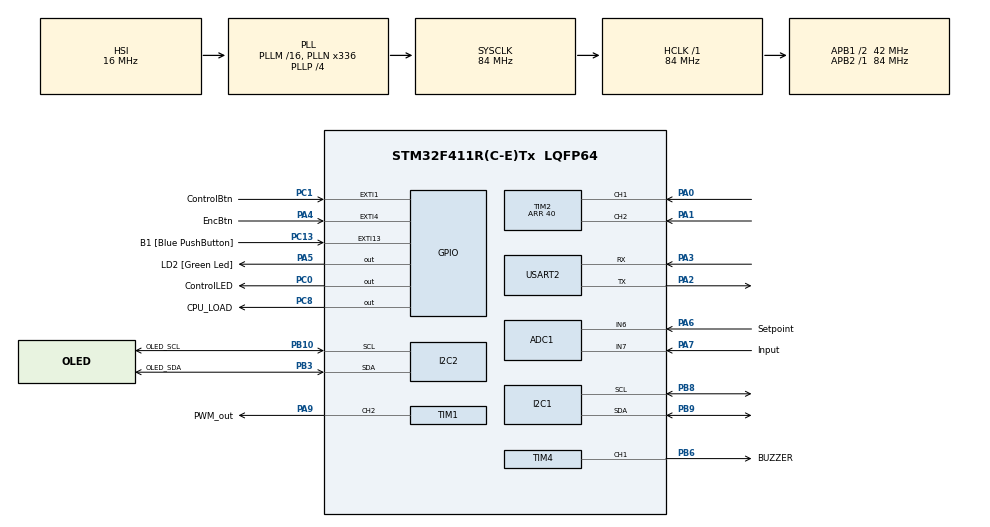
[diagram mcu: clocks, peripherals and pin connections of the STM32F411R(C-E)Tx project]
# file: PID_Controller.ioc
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ADC1.Channel-3\#ChannelRegularConversion=ADC_CHANNEL_6
ADC1.Channel-4\#ChannelRegularConversion=ADC_CHANNEL_7
ADC1.ContinuousConvMode=DISABLE
ADC1.DMAContinuousRequests=ENABLE
ADC1.DataAlign=ADC_DATAALIGN_RIGHT
ADC1.EOCSelection=ADC_EOC_SINGLE_CONV
ADC1.InjNumberOfConversion=0
ADC1.NbrOfConversion=2
ADC1.NbrOfConversionFlag=1
ADC1.Rank-3\#ChannelRegularConversion=1
ADC1.Rank-4\#ChannelRegularConversion=2
ADC1.SamplingTime-3\#ChannelRegularConversion=ADC_SAMPLETIME_480CYCLES
ADC1.SamplingTime-4\#ChannelRegularConversion=ADC_SAMPLETIME_480CYCLES
ADC1.ScanConvMode=ENABLE
ADC1.master=1
Dma.ADC1.2.Direction=DMA_PERIPH_TO_MEMORY
Dma.ADC1.2.FIFOMode=DMA_FIFOMODE_DISABLE
Dma.ADC1.2.Instance=DMA2_Stream0
Dma.ADC1.2.MemDataAlignment=DMA_MDATAALIGN_HALFWORD
Dma.ADC1.2.MemInc=DMA_MINC_ENABLE
Dma.ADC1.2.Mode=DMA_CIRCULAR
Dma.ADC1.2.PeriphDataAlignment=DMA_PDATAALIGN_HALFWORD
Dma.ADC1.2.PeriphInc=DMA_PINC_DISABLE
Dma.ADC1.2.Priority=DMA_PRIORITY_HIGH
Dma.I2C1_TX.0.Direction=DMA_MEMORY_TO_PERIPH
Dma.I2C1_TX.0.FIFOMode=DMA_FIFOMODE_ENABLE
Dma.I2C1_TX.0.FIFOThreshold=DMA_FIFO_THRESHOLD_HALFFULL
Dma.I2C1_TX.0.Instance=DMA1_Stream1
Dma.I2C1_TX.0.MemBurst=DMA_MBURST_SINGLE
Dma.I2C1_TX.0.MemDataAlignment=DMA_MDATAALIGN_WORD
Dma.I2C1_TX.0.MemInc=DMA_MINC_ENABLE
Dma.I2C1_TX.0.Mode=DMA_NORMAL
Dma.I2C1_TX.0.PeriphBurst=DMA_PBURST_SINGLE
Dma.I2C1_TX.0.PeriphDataAlignment=DMA_PDATAALIGN_BYTE
Dma.I2C1_TX.0.PeriphInc=DMA_PINC_DISABLE
Dma.I2C1_TX.0.Priority=DMA_PRIORITY_MEDIUM
Dma.I2C2_TX.1.Direction=DMA_MEMORY_TO_PERIPH
Dma.I2C2_TX.1.FIFOMode=DMA_FIFOMODE_ENABLE
Dma.I2C2_TX.1.FIFOThreshold=DMA_FIFO_THRESHOLD_HALFFULL
Dma.I2C2_TX.1.Instance=DMA1_Stream7
Dma.I2C2_TX.1.MemBurst=DMA_MBURST_SINGLE
Dma.I2C2_TX.1.MemDataAlignment=DMA_MDATAALIGN_WORD
Dma.I2C2_TX.1.MemInc=DMA_MINC_ENABLE
Dma.I2C2_TX.1.Mode=DMA_NORMAL
Dma.I2C2_TX.1.PeriphBurst=DMA_PBURST_SINGLE
Dma.I2C2_TX.1.PeriphDataAlignment=DMA_PDATAALIGN_BYTE
Dma.I2C2_TX.1.PeriphInc=DMA_PINC_DISABLE
Dma.I2C2_TX.1.Priority=DMA_PRIORITY_HIGH
Dma.Request0=I2C1_TX
Dma.Request1=I2C2_TX
Dma.Request2=ADC1
Dma.Request3=USART2_TX
Dma.USART2_TX.3.Direction=DMA_MEMORY_TO_PERIPH
Dma.USART2_TX.3.FIFOMode=DMA_FIFOMODE_DISABLE
Dma.USART2_TX.3.Instance=DMA1_Stream6
Dma.USART2_TX.3.MemDataAlignment=DMA_MDATAALIGN_BYTE
Dma.USART2_TX.3.MemInc=DMA_MINC_ENABLE
Dma.USART2_TX.3.Mode=DMA_NORMAL
Dma.USART2_TX.3.PeriphDataAlignment=DMA_PDATAALIGN_BYTE
Dma.USART2_TX.3.PeriphInc=DMA_PINC_DISABLE
Dma.USART2_TX.3.Priority=DMA_PRIORITY_LOW
FREERTOS.Tasks01=Default,8,128,StartDefaultTask,As weak,NULL,Static,DefaultBuffer,DefaultControlBlock;Service_LCD,24,128,Service_LCD_Task,As weak,NULL,Static,Service_LCDBuffer,Service_LCDControlBlock;Service_Control,16,128,Service_Control_Task,As weak,NULL,Static,Service_ControlBuffer,Service_ControlControlBlock;Service_OLED,24,128,Service_OLED_Task,As weak,NULL,Static,Service_OLEDBuffer,Service_OLEDControlBlock
FREERTOS.configENABLE_FPU=1
FREERTOS.configUSE_NEWLIB_REENTRANT=1
I2C2.I2C_Mode=I2C_Fast
Mcu.Family=STM32F4
Mcu.Name=STM32F411R(C-E)Tx
Mcu.Package=LQFP64
Mcu.UserConstants=DUTY_50,21000
NVIC.ADC_IRQn=true\:5\:0\:false\:false\:true\:true\:true\:true\:true
NVIC.DMA1_Stream1_IRQn=true\:5\:0\:false\:false\:true\:true\:true\:true\:true
NVIC.DMA1_Stream6_IRQn=true\:5\:0\:false\:false\:true\:true\:true\:true\:true
NVIC.DMA1_Stream7_IRQn=true\:5\:0\:true\:false\:true\:true\:true\:true\:true
NVIC.DMA2_Stream0_IRQn=true\:5\:0\:false\:false\:true\:true\:true\:true\:true
NVIC.EXTI1_IRQn=true\:6\:0\:true\:false\:true\:true\:true\:true\:true
NVIC.EXTI4_IRQn=true\:6\:0\:true\:false\:true\:true\:true\:true\:true
NVIC.I2C1_EV_IRQn=true\:5\:0\:false\:false\:true\:true\:true\:true\:true
NVIC.I2C2_EV_IRQn=true\:5\:0\:false\:false\:true\:true\:true\:true\:true
NVIC.PriorityGroup=NVIC_PRIORITYGROUP_4
NVIC.TIM1_BRK_TIM9_IRQn=true\:5\:0\:false\:false\:true\:true\:true\:true\:true
NVIC.TIM1_TRG_COM_TIM11_IRQn=true\:15\:0\:true\:false\:true\:false\:false\:true\:true
NVIC.TIM1_UP_TIM10_IRQn=true\:10\:0\:true\:false\:true\:true\:true\:true\:true
NVIC.TIM4_IRQn=true\:5\:0\:false\:false\:true\:true\:true\:true\:true
NVIC.TIM5_IRQn=true\:5\:0\:true\:false\:true\:true\:true\:true\:true
NVIC.TimeBase=TIM1_TRG_COM_TIM11_IRQn
NVIC.TimeBaseIP=TIM11
NVIC.USART2_IRQn=true\:5\:0\:false\:false\:true\:true\:true\:true\:true
PA0-WKUP.Signal=S_TIM2_CH1_ETR
PA1.Signal=S_TIM2_CH2
PA13.GPIO_Label=TMS
PA13.Mode=Serial_Wire
PA13.Signal=SYS_JTMS-SWDIO
PA14.GPIO_Label=TCK
PA14.Mode=Serial_Wire
PA14.Signal=SYS_JTCK-SWCLK
PA2.Mode=Asynchronous
PA2.Signal=USART2_TX
PA3.Mode=Asynchronous
PA3.Signal=USART2_RX
PA4.GPIO_Label=EncBtn
PA4.GPIO_ModeDefaultEXTI=GPIO_MODE_IT_FALLING
PA4.Signal=GPXTI4
PA5.GPIO_Label=LD2 [Green Led]
PA5.GPIO_Speed=GPIO_SPEED_FREQ_VERY_HIGH
PA5.Signal=GPIO_Output
PA6.GPIO_Label=Setpoint
PA6.Signal=ADCx_IN6
PA7.GPIO_Label=Input
PA7.Signal=ADCx_IN7
PA9.GPIO_Label=PWM_out
PA9.Signal=S_TIM1_CH2
PB10.GPIO_Label=OLED_SCL
PB10.Mode=I2C
PB10.Signal=I2C2_SCL
PB3.GPIO_Label=OLED_SDA
PB3.Mode=I2C
PB3.Signal=I2C2_SDA
PB6.GPIO_Label=BUZZER
PB6.Signal=S_TIM4_CH1
PB8.Mode=I2C
PB8.Signal=I2C1_SCL
PB9.Mode=I2C
PB9.Signal=I2C1_SDA
PC0.GPIO_Label=ControlLED
PC0.Signal=GPIO_Output
PC1.GPIO_Label=ControlBtn
PC1.GPIO_ModeDefaultEXTI=GPIO_MODE_IT_FALLING
PC1.Signal=GPXTI1
PC13-ANTI_TAMP.GPIO_Label=B1 [Blue PushButton]
PC13-ANTI_TAMP.GPIO_ModeDefaultEXTI=GPIO_MODE_IT_FALLING
PC13-ANTI_TAMP.Signal=GPXTI13
PC14-OSC32_IN.Mode=LSE-External-Oscillator
PC14-OSC32_IN.Signal=RCC_OSC32_IN
PC15-OSC32_OUT.Mode=LSE-External-Oscillator
PC15-OSC32_OUT.Signal=RCC_OSC32_OUT
PC8.GPIO_Label=CPU_LOAD
PC8.GPIO_Speed=GPIO_SPEED_FREQ_VERY_HIGH
PC8.Signal=GPIO_Output
ProjectManager.HeapSize=0x400
ProjectManager.StackSize=0x800
ProjectManager.TargetToolchain=STM32CubeIDE
RCC.48MHZClocksFreq_Value=84000000
RCC.AHBFreq_Value=84000000
RCC.APB1CLKDivider=RCC_HCLK_DIV2
RCC.APB1Freq_Value=42000000
RCC.APB1TimFreq_Value=84000000
RCC.APB2Freq_Value=84000000
RCC.APB2TimFreq_Value=84000000
RCC.CortexFreq_Value=84000000
RCC.FLatency-AdvancedSettings=FLASH_LATENCY_2
RCC.HCLKFreq_Value=84000000
RCC.HSE_VALUE=8000000
RCC.HSI_VALUE=16000000
RCC.PLLN=336
RCC.PLLP=RCC_PLLP_DIV4
RCC.SYSCLKFreq_VALUE=84000000
RCC.SYSCLKSource=RCC_SYSCLKSOURCE_PLLCLK
RCC.VCOOutputFreq_Value=336000000
SH.ADCx_IN6.0=ADC1_IN6,IN6
SH.ADCx_IN7.0=ADC1_IN7,IN7
SH.S_TIM1_CH2.0=TIM1_CH2,PWM Generation2 CH2
SH.S_TIM2_CH1_ETR.0=TIM2_CH1,Encoder_Interface
SH.S_TIM2_CH2.0=TIM2_CH2,Encoder_Interface
SH.S_TIM4_CH1.0=TIM4_CH1,PWM Generation1 CH1
TIM1.Channel-PWM\ Generation2\ CH2=TIM_CHANNEL_2
TIM1.OCPolarity_2=TIM_OCPOLARITY_LOW
TIM1.Period=DUTY_50*2
TIM1.Pulse=DUTY_50
TIM1.Pulse-PWM\ Generation2\ CH2=DUTY_50
TIM1.RepetitionCounter=0
TIM10.AutoReloadPreload=TIM_AUTORELOAD_PRELOAD_ENABLE
TIM10.ClockDivision=TIM_CLOCKDIVISION_DIV4
TIM10.Prescaler=100
TIM2.EncoderMode=TIM_ENCODERMODE_TI12
TIM2.IC1Filter=10
TIM2.IC1Polarity=TIM_ICPOLARITY_FALLING
TIM2.IC2Filter=10
TIM2.IC2Polarity=TIM_ICPOLARITY_FALLING
TIM2.Period=40
TIM4.AutoReloadPreload=TIM_AUTORELOAD_PRELOAD_ENABLE
TIM4.Channel-PWM\ Generation1\ CH1=TIM_CHANNEL_1
TIM4.ClockDivision=TIM_CLOCKDIVISION_DIV1
TIM4.Period=40000
TIM4.Prescaler=0
TIM4.Pulse-PWM\ Generation1\ CH1=20000
TIM5.AutoReloadPreload=TIM_AUTORELOAD_PRELOAD_ENABLE
TIM5.ClockDivision=TIM_CLOCKDIVISION_DIV4
TIM5.Period=65535
TIM5.Prescaler=300
TIM9.AutoReloadPreload=TIM_AUTORELOAD_PRELOAD_ENABLE
TIM9.ClockDivision=TIM_CLOCKDIVISION_DIV4
TIM9.Prescaler=300
USART2.VirtualMode=VM_ASYNC
VP_FREERTOS_VS_CMSIS_V2.Mode=CMSIS_V2
VP_SYS_VS_tim11.Mode=TIM11
VP_TIM10_VS_ClockSourceINT.Mode=Enable_Timer
VP_TIM1_VS_ClockSourceINT.Mode=Internal
VP_TIM4_VS_ClockSourceINT.Mode=Internal
VP_TIM4_VS_OPM.Mode=OPM_bit
VP_TIM5_VS_ClockSourceINT.Mode=Internal
VP_TIM5_VS_OPM.Mode=OPM_bit
VP_TIM9_VS_ClockSourceINT.Mode=Internal
VP_TIM9_VS_OPM.Mode=OPM_bit
board=NUCLEO-F411RE

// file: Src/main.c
/* USER CODE BEGIN Header */
/**
  ******************************************************************************
  * @file           : main.c
  * @brief          : Main program body
  ******************************************************************************
  * @attention
  *
  * Copyright (c) 2023 STMicroelectronics.
  * All rights reserved.
  *
  * This software is licensed under terms that can be found in the LICENSE file
  * in the root directory of this software component.
  * If no LICENSE file comes with this software, it is provided AS-IS.
  *
  ******************************************************************************
  */
/* USER CODE END Header */
#include "main.h"
#include "cmsis_os.h"

/* USER CODE BEGIN Includes */
#include <string.h>
#include "controller.h"
/* USER CODE END Includes */

typedef StaticTask_t osStaticThreadDef_t;

ADC_HandleTypeDef hadc1;
DMA_HandleTypeDef hdma_adc1;

I2C_HandleTypeDef hi2c1;
I2C_HandleTypeDef hi2c2;
DMA_HandleTypeDef hdma_i2c1_tx;
DMA_HandleTypeDef hdma_i2c2_tx;

TIM_HandleTypeDef htim1;
TIM_HandleTypeDef htim2;
TIM_HandleTypeDef htim4;
TIM_HandleTypeDef htim5;
TIM_HandleTypeDef htim9;
TIM_HandleTypeDef htim10;

UART_HandleTypeDef huart2;
DMA_HandleTypeDef hdma_usart2_tx;

/* Definitions for Default */
osThreadId_t DefaultHandle;
uint32_t DefaultBuffer[ 128 ];
osStaticThreadDef_t DefaultControlBlock;
const osThreadAttr_t Default_attributes = {
  .name = "Default",
  .cb_mem = &DefaultControlBlock,
  .cb_size = sizeof(DefaultControlBlock),
  .stack_mem = &DefaultBuffer[0],
  .stack_size = sizeof(DefaultBuffer),
  .priority = (osPriority_t) osPriorityLow,
};
/* Definitions for Service_LCD */
osThreadId_t Service_LCDHandle;
uint32_t Service_LCDBuffer[ 128 ];
osStaticThreadDef_t Service_LCDControlBlock;
const osThreadAttr_t Service_LCD_attributes = {
  .name = "Service_LCD",
  .cb_mem = &Service_LCDControlBlock,
  .cb_size = sizeof(Service_LCDControlBlock),
  .stack_mem = &Service_LCDBuffer[0],
  .stack_size = sizeof(Service_LCDBuffer),
  .priority = (osPriority_t) osPriorityNormal,
};
/* Definitions for Service_Control */
osThreadId_t Service_ControlHandle;
uint32_t Service_ControlBuffer[ 128 ];
osStaticThreadDef_t Service_ControlControlBlock;
const osThreadAttr_t Service_Control_attributes = {
  .name = "Service_Control",
  .cb_mem = &Service_ControlControlBlock,
  .cb_size = sizeof(Service_ControlControlBlock),
  .stack_mem = &Service_ControlBuffer[0],
  .stack_size = sizeof(Service_ControlBuffer),
  .priority = (osPriority_t) osPriorityBelowNormal,
};
/* Definitions for Service_OLED */
osThreadId_t Service_OLEDHandle;
uint32_t Service_OLEDBuffer[ 128 ];
osStaticThreadDef_t Service_OLEDControlBlock;
const osThreadAttr_t Service_OLED_attributes = {
  .name = "Service_OLED",
  .cb_mem = &Service_OLEDControlBlock,
  .cb_size = sizeof(Service_OLEDControlBlock),
  .stack_mem = &Service_OLEDBuffer[0],
  .stack_size = sizeof(Service_OLEDBuffer),
  .priority = (osPriority_t) osPriorityNormal,
};

void SystemClock_Config(void);
static void MX_GPIO_Init(void);
static void MX_DMA_Init(void);
static void MX_TIM2_Init(void);
static void MX_I2C1_Init(void);
static void MX_I2C2_Init(void);
static void MX_ADC1_Init(void);
static void MX_USART2_UART_Init(void);
static void MX_TIM1_Init(void);
static void MX_TIM4_Init(void);
static void MX_TIM5_Init(void);
static void MX_TIM9_Init(void);
static void MX_TIM10_Init(void);
void StartDefaultTask(void *argument);
void Service_LCD_Task(void *argument);
void Service_Control_Task(void *argument);
void Service_OLED_Task(void *argument);

/* USER CODE BEGIN 0 */
int __io_putchar(int ch) { // NOLINT(bugprone-reserved-identifier)
    HAL_UART_Transmit(&huart2, (unsigned char *) &ch, 1, 10);
}

/* USER CODE END 0 */

int main(void)
{

  /* MCU Configuration--------------------------------------------------------*/

  /* Reset of all peripherals, Initializes the Flash interface and the Systick. */
  HAL_Init();

  /* Configure the system clock */
  SystemClock_Config();

  /* Initialize all configured peripherals */
  MX_GPIO_Init();
  MX_DMA_Init();
  MX_TIM2_Init();
  MX_I2C1_Init();
  MX_I2C2_Init();
  MX_ADC1_Init();
  MX_USART2_UART_Init();
  MX_TIM1_Init();
  MX_TIM4_Init();
  MX_TIM5_Init();
  MX_TIM9_Init();
  MX_TIM10_Init();
  /* USER CODE BEGIN 2 */

  HAL_Delay(100);
    Controller_Init();
    Controller_Welcome();
  /* USER CODE END 2 */

  /* Init scheduler */
  osKernelInitialize();

  /* Create the thread(s) */
  /* creation of Default */
  DefaultHandle = osThreadNew(StartDefaultTask, NULL, &Default_attributes);

  /* creation of Service_LCD */
  Service_LCDHandle = osThreadNew(Service_LCD_Task, NULL, &Service_LCD_attributes);

  /* creation of Service_Control */
  Service_ControlHandle = osThreadNew(Service_Control_Task, NULL, &Service_Control_attributes);

  /* creation of Service_OLED */
  Service_OLEDHandle = osThreadNew(Service_OLED_Task, NULL, &Service_OLED_attributes);

  /* Start scheduler */
  osKernelStart();
  /* We should never get here as control is now taken by the scheduler */
  /* Infinite loop */
    while (1) {

    }
}

void SystemClock_Config(void)
{
  RCC_OscInitTypeDef RCC_OscInitStruct = {0};
  RCC_ClkInitTypeDef RCC_ClkInitStruct = {0};

  /** Configure the main internal regulator output voltage
  */
  __HAL_RCC_PWR_CLK_ENABLE();
  __HAL_PWR_VOLTAGESCALING_CONFIG(PWR_REGULATOR_VOLTAGE_SCALE1);

  /** Initializes the RCC Oscillators according to the specified parameters
  * in the RCC_OscInitTypeDef structure.
  */
  RCC_OscInitStruct.OscillatorType = RCC_OSCILLATORTYPE_HSI;
  RCC_OscInitStruct.HSIState = RCC_HSI_ON;
  RCC_OscInitStruct.HSICalibrationValue = RCC_HSICALIBRATION_DEFAULT;
  RCC_OscInitStruct.PLL.PLLState = RCC_PLL_ON;
  RCC_OscInitStruct.PLL.PLLSource = RCC_PLLSOURCE_HSI;
  RCC_OscInitStruct.PLL.PLLM = 16;
  RCC_OscInitStruct.PLL.PLLN = 336;
  RCC_OscInitStruct.PLL.PLLP = RCC_PLLP_DIV4;
  RCC_OscInitStruct.PLL.PLLQ = 4;
  if (HAL_RCC_OscConfig(&RCC_OscInitStruct) != HAL_OK)
  {
    Error_Handler();
  }

  /** Initializes the CPU, AHB and APB buses clocks
  */
  RCC_ClkInitStruct.ClockType = RCC_CLOCKTYPE_HCLK|RCC_CLOCKTYPE_SYSCLK
                              |RCC_CLOCKTYPE_PCLK1|RCC_CLOCKTYPE_PCLK2;
  RCC_ClkInitStruct.SYSCLKSource = RCC_SYSCLKSOURCE_PLLCLK;
  RCC_ClkInitStruct.AHBCLKDivider = RCC_SYSCLK_DIV1;
  RCC_ClkInitStruct.APB1CLKDivider = RCC_HCLK_DIV2;
  RCC_ClkInitStruct.APB2CLKDivider = RCC_HCLK_DIV1;

  if (HAL_RCC_ClockConfig(&RCC_ClkInitStruct, FLASH_LATENCY_2) != HAL_OK)
  {
    Error_Handler();
  }
}

static void MX_ADC1_Init(void)
{

  ADC_ChannelConfTypeDef sConfig = {0};

  /** Configure the global features of the ADC (Clock, Resolution, Data Alignment and number of conversion)
  */
  hadc1.Instance = ADC1;
  hadc1.Init.ClockPrescaler = ADC_CLOCK_SYNC_PCLK_DIV4;
  hadc1.Init.Resolution = ADC_RESOLUTION_12B;
  hadc1.Init.ScanConvMode = ENABLE;
  hadc1.Init.ContinuousConvMode = DISABLE;
  hadc1.Init.DiscontinuousConvMode = DISABLE;
  hadc1.Init.ExternalTrigConvEdge = ADC_EXTERNALTRIGCONVEDGE_NONE;
  hadc1.Init.ExternalTrigConv = ADC_SOFTWARE_START;
  hadc1.Init.DataAlign = ADC_DATAALIGN_RIGHT;
  hadc1.Init.NbrOfConversion = 2;
  hadc1.Init.DMAContinuousRequests = ENABLE;
  hadc1.Init.EOCSelection = ADC_EOC_SINGLE_CONV;
  if (HAL_ADC_Init(&hadc1) != HAL_OK)
  {
    Error_Handler();
  }

  /** Configure for the selected ADC regular channel its corresponding rank in the sequencer and its sample time.
  */
  sConfig.Channel = ADC_CHANNEL_6;
  sConfig.Rank = 1;
  sConfig.SamplingTime = ADC_SAMPLETIME_480CYCLES;
  if (HAL_ADC_ConfigChannel(&hadc1, &sConfig) != HAL_OK)
  {
    Error_Handler();
  }

  /** Configure for the selected ADC regular channel its corresponding rank in the sequencer and its sample time.
  */
  sConfig.Channel = ADC_CHANNEL_7;
  sConfig.Rank = 2;
  if (HAL_ADC_ConfigChannel(&hadc1, &sConfig) != HAL_OK)
  {
    Error_Handler();
  }

}

static void MX_I2C1_Init(void)
{

  hi2c1.Instance = I2C1;
  hi2c1.Init.ClockSpeed = 100000;
  hi2c1.Init.DutyCycle = I2C_DUTYCYCLE_2;
  hi2c1.Init.OwnAddress1 = 0;
  hi2c1.Init.AddressingMode = I2C_ADDRESSINGMODE_7BIT;
  hi2c1.Init.DualAddressMode = I2C_DUALADDRESS_DISABLE;
  hi2c1.Init.OwnAddress2 = 0;
  hi2c1.Init.GeneralCallMode = I2C_GENERALCALL_DISABLE;
  hi2c1.Init.NoStretchMode = I2C_NOSTRETCH_DISABLE;
  if (HAL_I2C_Init(&hi2c1) != HAL_OK)
  {
    Error_Handler();
  }

}

static void MX_I2C2_Init(void)
{

  hi2c2.Instance = I2C2;
  hi2c2.Init.ClockSpeed = 400000;
  hi2c2.Init.DutyCycle = I2C_DUTYCYCLE_2;
  hi2c2.Init.OwnAddress1 = 0;
  hi2c2.Init.AddressingMode = I2C_ADDRESSINGMODE_7BIT;
  hi2c2.Init.DualAddressMode = I2C_DUALADDRESS_DISABLE;
  hi2c2.Init.OwnAddress2 = 0;
  hi2c2.Init.GeneralCallMode = I2C_GENERALCALL_DISABLE;
  hi2c2.Init.NoStretchMode = I2C_NOSTRETCH_DISABLE;
  if (HAL_I2C_Init(&hi2c2) != HAL_OK)
  {
    Error_Handler();
  }

}

static void MX_TIM1_Init(void)
{

  TIM_ClockConfigTypeDef sClockSourceConfig = {0};
  TIM_MasterConfigTypeDef sMasterConfig = {0};
  TIM_OC_InitTypeDef sConfigOC = {0};
  TIM_BreakDeadTimeConfigTypeDef sBreakDeadTimeConfig = {0};

  htim1.Instance = TIM1;
  htim1.Init.Prescaler = 0;
  htim1.Init.CounterMode = TIM_COUNTERMODE_UP;
  htim1.Init.Period = DUTY_50*2;
  htim1.Init.ClockDivision = TIM_CLOCKDIVISION_DIV1;
  htim1.Init.RepetitionCounter = 0;
  htim1.Init.AutoReloadPreload = TIM_AUTORELOAD_PRELOAD_DISABLE;
  if (HAL_TIM_Base_Init(&htim1) != HAL_OK)
  {
    Error_Handler();
  }
  sClockSourceConfig.ClockSource = TIM_CLOCKSOURCE_INTERNAL;
  if (HAL_TIM_ConfigClockSource(&htim1, &sClockSourceConfig) != HAL_OK)
  {
    Error_Handler();
  }
  if (HAL_TIM_PWM_Init(&htim1) != HAL_OK)
  {
    Error_Handler();
  }
  sMasterConfig.MasterOutputTrigger = TIM_TRGO_RESET;
  sMasterConfig.MasterSlaveMode = TIM_MASTERSLAVEMODE_DISABLE;
  if (HAL_TIMEx_MasterConfigSynchronization(&htim1, &sMasterConfig) != HAL_OK)
  {
    Error_Handler();
  }
  sConfigOC.OCMode = TIM_OCMODE_PWM1;
  sConfigOC.Pulse = DUTY_50;
  sConfigOC.OCPolarity = TIM_OCPOLARITY_LOW;
  sConfigOC.OCNPolarity = TIM_OCNPOLARITY_HIGH;
  sConfigOC.OCFastMode = TIM_OCFAST_DISABLE;
  sConfigOC.OCIdleState = TIM_OCIDLESTATE_RESET;
  sConfigOC.OCNIdleState = TIM_OCNIDLESTATE_RESET;
  if (HAL_TIM_PWM_ConfigChannel(&htim1, &sConfigOC, TIM_CHANNEL_2) != HAL_OK)
  {
    Error_Handler();
  }
  sBreakDeadTimeConfig.OffStateRunMode = TIM_OSSR_DISABLE;
  sBreakDeadTimeConfig.OffStateIDLEMode = TIM_OSSI_DISABLE;
  sBreakDeadTimeConfig.LockLevel = TIM_LOCKLEVEL_OFF;
  sBreakDeadTimeConfig.DeadTime = 0;
  sBreakDeadTimeConfig.BreakState = TIM_BREAK_DISABLE;
  sBreakDeadTimeConfig.BreakPolarity = TIM_BREAKPOLARITY_HIGH;
  sBreakDeadTimeConfig.AutomaticOutput = TIM_AUTOMATICOUTPUT_DISABLE;
  if (HAL_TIMEx_ConfigBreakDeadTime(&htim1, &sBreakDeadTimeConfig) != HAL_OK)
  {
    Error_Handler();
  }
  HAL_TIM_MspPostInit(&htim1);

}

static void MX_TIM2_Init(void)
{

  TIM_Encoder_InitTypeDef sConfig = {0};
  TIM_MasterConfigTypeDef sMasterConfig = {0};

  htim2.Instance = TIM2;
  htim2.Init.Prescaler = 0;
  htim2.Init.CounterMode = TIM_COUNTERMODE_UP;
  htim2.Init.Period = 40;
  htim2.Init.ClockDivision = TIM_CLOCKDIVISION_DIV1;
  htim2.Init.AutoReloadPreload = TIM_AUTORELOAD_PRELOAD_DISABLE;
  sConfig.EncoderMode = TIM_ENCODERMODE_TI12;
  sConfig.IC1Polarity = TIM_ICPOLARITY_FALLING;
  sConfig.IC1Selection = TIM_ICSELECTION_DIRECTTI;
  sConfig.IC1Prescaler = TIM_ICPSC_DIV1;
  sConfig.IC1Filter = 10;
  sConfig.IC2Polarity = TIM_ICPOLARITY_FALLING;
  sConfig.IC2Selection = TIM_ICSELECTION_DIRECTTI;
  sConfig.IC2Prescaler = TIM_ICPSC_DIV1;
  sConfig.IC2Filter = 10;
  if (HAL_TIM_Encoder_Init(&htim2, &sConfig) != HAL_OK)
  {
    Error_Handler();
  }
  sMasterConfig.MasterOutputTrigger = TIM_TRGO_RESET;
  sMasterConfig.MasterSlaveMode = TIM_MASTERSLAVEMODE_DISABLE;
  if (HAL_TIMEx_MasterConfigSynchronization(&htim2, &sMasterConfig) != HAL_OK)
  {
    Error_Handler();
  }

}

static void MX_TIM4_Init(void)
{

  TIM_ClockConfigTypeDef sClockSourceConfig = {0};
  TIM_MasterConfigTypeDef sMasterConfig = {0};
  TIM_OC_InitTypeDef sConfigOC = {0};

  htim4.Instance = TIM4;
  htim4.Init.Prescaler = 0;
  htim4.Init.CounterMode = TIM_COUNTERMODE_UP;
  htim4.Init.Period = 40000;
  htim4.Init.ClockDivision = TIM_CLOCKDIVISION_DIV1;
  htim4.Init.AutoReloadPreload = TIM_AUTORELOAD_PRELOAD_ENABLE;
  if (HAL_TIM_Base_Init(&htim4) != HAL_OK)
  {
    Error_Handler();
  }
  sClockSourceConfig.ClockSource = TIM_CLOCKSOURCE_INTERNAL;
  if (HAL_TIM_ConfigClockSource(&htim4, &sClockSourceConfig) != HAL_OK)
  {
    Error_Handler();
  }
  if (HAL_TIM_PWM_Init(&htim4) != HAL_OK)
  {
    Error_Handler();
  }
  if (HAL_TIM_OnePulse_Init(&htim4, TIM_OPMODE_SINGLE) != HAL_OK)
  {
    Error_Handler();
  }
  sMasterConfig.MasterOutputTrigger = TIM_TRGO_RESET;
  sMasterConfig.MasterSlaveMode = TIM_MASTERSLAVEMODE_DISABLE;
  if (HAL_TIMEx_MasterConfigSynchronization(&htim4, &sMasterConfig) != HAL_OK)
  {
    Error_Handler();
  }
  sConfigOC.OCMode = TIM_OCMODE_PWM1;
  sConfigOC.Pulse = 20000;
  sConfigOC.OCPolarity = TIM_OCPOLARITY_HIGH;
  sConfigOC.OCFastMode = TIM_OCFAST_DISABLE;
  if (HAL_TIM_PWM_ConfigChannel(&htim4, &sConfigOC, TIM_CHANNEL_1) != HAL_OK)
  {
    Error_Handler();
  }
  HAL_TIM_MspPostInit(&htim4);

}

static void MX_TIM5_Init(void)
{

  TIM_ClockConfigTypeDef sClockSourceConfig = {0};
  TIM_MasterConfigTypeDef sMasterConfig = {0};

  htim5.Instance = TIM5;
  htim5.Init.Prescaler = 300;
  htim5.Init.CounterMode = TIM_COUNTERMODE_UP;
  htim5.Init.Period = 65535;
  htim5.Init.ClockDivision = TIM_CLOCKDIVISION_DIV4;
  htim5.Init.AutoReloadPreload = TIM_AUTORELOAD_PRELOAD_ENABLE;
  if (HAL_TIM_Base_Init(&htim5) != HAL_OK)
  {
    Error_Handler();
  }
  sClockSourceConfig.ClockSource = TIM_CLOCKSOURCE_INTERNAL;
  if (HAL_TIM_ConfigClockSource(&htim5, &sClockSourceConfig) != HAL_OK)
  {
    Error_Handler();
  }
  if (HAL_TIM_OnePulse_Init(&htim5, TIM_OPMODE_SINGLE) != HAL_OK)
  {
    Error_Handler();
  }
  sMasterConfig.MasterOutputTrigger = TIM_TRGO_RESET;
  sMasterConfig.MasterSlaveMode = TIM_MASTERSLAVEMODE_DISABLE;
  if (HAL_TIMEx_MasterConfigSynchronization(&htim5, &sMasterConfig) != HAL_OK)
  {
    Error_Handler();
  }

}

static void MX_TIM9_Init(void)
{

  TIM_ClockConfigTypeDef sClockSourceConfig = {0};

  htim9.Instance = TIM9;
  htim9.Init.Prescaler = 300;
  htim9.Init.CounterMode = TIM_COUNTERMODE_UP;
  htim9.Init.Period = 65535;
  htim9.Init.ClockDivision = TIM_CLOCKDIVISION_DIV4;
  htim9.Init.AutoReloadPreload = TIM_AUTORELOAD_PRELOAD_ENABLE;
  if (HAL_TIM_Base_Init(&htim9) != HAL_OK)
  {
    Error_Handler();
  }
  sClockSourceConfig.ClockSource = TIM_CLOCKSOURCE_INTERNAL;
  if (HAL_TIM_ConfigClockSource(&htim9, &sClockSourceConfig) != HAL_OK)
  {
    Error_Handler();
  }
  if (HAL_TIM_OnePulse_Init(&htim9, TIM_OPMODE_SINGLE) != HAL_OK)
  {
    Error_Handler();
  }

}

static void MX_TIM10_Init(void)
{

  htim10.Instance = TIM10;
  htim10.Init.Prescaler = 100;
  htim10.Init.CounterMode = TIM_COUNTERMODE_UP;
  htim10.Init.Period = 65535;
  htim10.Init.ClockDivision = TIM_CLOCKDIVISION_DIV4;
  htim10.Init.AutoReloadPreload = TIM_AUTORELOAD_PRELOAD_ENABLE;
  if (HAL_TIM_Base_Init(&htim10) != HAL_OK)
  {
    Error_Handler();
  }

}

static void MX_USART2_UART_Init(void)
{

  huart2.Instance = USART2;
  huart2.Init.BaudRate = 115200;
  huart2.Init.WordLength = UART_WORDLENGTH_8B;
  huart2.Init.StopBits = UART_STOPBITS_1;
  huart2.Init.Parity = UART_PARITY_NONE;
  huart2.Init.Mode = UART_MODE_TX_RX;
  huart2.Init.HwFlowCtl = UART_HWCONTROL_NONE;
  huart2.Init.OverSampling = UART_OVERSAMPLING_16;
  if (HAL_UART_Init(&huart2) != HAL_OK)
  {
    Error_Handler();
  }

}

static void MX_DMA_Init(void)
{

  /* DMA controller clock enable */
  __HAL_RCC_DMA1_CLK_ENABLE();
  __HAL_RCC_DMA2_CLK_ENABLE();

  /* DMA interrupt init */
  /* DMA1_Stream1_IRQn interrupt configuration */
  HAL_NVIC_SetPriority(DMA1_Stream1_IRQn, 5, 0);
  HAL_NVIC_EnableIRQ(DMA1_Stream1_IRQn);
  /* DMA1_Stream6_IRQn interrupt configuration */
  HAL_NVIC_SetPriority(DMA1_Stream6_IRQn, 5, 0);
  HAL_NVIC_EnableIRQ(DMA1_Stream6_IRQn);
  /* DMA1_Stream7_IRQn interrupt configuration */
  HAL_NVIC_SetPriority(DMA1_Stream7_IRQn, 5, 0);
  HAL_NVIC_EnableIRQ(DMA1_Stream7_IRQn);
  /* DMA2_Stream0_IRQn interrupt configuration */
  HAL_NVIC_SetPriority(DMA2_Stream0_IRQn, 5, 0);
  HAL_NVIC_EnableIRQ(DMA2_Stream0_IRQn);

}

static void MX_GPIO_Init(void)
{
  GPIO_InitTypeDef GPIO_InitStruct = {0};

  /* GPIO Ports Clock Enable */
  __HAL_RCC_GPIOC_CLK_ENABLE();
  __HAL_RCC_GPIOA_CLK_ENABLE();
  __HAL_RCC_GPIOB_CLK_ENABLE();

  /*Configure GPIO pin Output Level */
  HAL_GPIO_WritePin(GPIOC, ControlLED_Pin|CPU_LOAD_Pin, GPIO_PIN_RESET);

  /*Configure GPIO pin Output Level */
  HAL_GPIO_WritePin(LD2_GPIO_Port, LD2_Pin, GPIO_PIN_RESET);

  /*Configure GPIO pins : B1_Pin ControlBtn_Pin */
  GPIO_InitStruct.Pin = B1_Pin|ControlBtn_Pin;
  GPIO_InitStruct.Mode = GPIO_MODE_IT_FALLING;
  GPIO_InitStruct.Pull = GPIO_NOPULL;
  HAL_GPIO_Init(GPIOC, &GPIO_InitStruct);

  /*Configure GPIO pin : ControlLED_Pin */
  GPIO_InitStruct.Pin = ControlLED_Pin;
  GPIO_InitStruct.Mode = GPIO_MODE_OUTPUT_PP;
  GPIO_InitStruct.Pull = GPIO_NOPULL;
  GPIO_InitStruct.Speed = GPIO_SPEED_FREQ_LOW;
  HAL_GPIO_Init(ControlLED_GPIO_Port, &GPIO_InitStruct);

  /*Configure GPIO pin : EncBtn_Pin */
  GPIO_InitStruct.Pin = EncBtn_Pin;
  GPIO_InitStruct.Mode = GPIO_MODE_IT_FALLING;
  GPIO_InitStruct.Pull = GPIO_NOPULL;
  HAL_GPIO_Init(EncBtn_GPIO_Port, &GPIO_InitStruct);

  /*Configure GPIO pin : LD2_Pin */
  GPIO_InitStruct.Pin = LD2_Pin;
  GPIO_InitStruct.Mode = GPIO_MODE_OUTPUT_PP;
  GPIO_InitStruct.Pull = GPIO_NOPULL;
  GPIO_InitStruct.Speed = GPIO_SPEED_FREQ_VERY_HIGH;
  HAL_GPIO_Init(LD2_GPIO_Port, &GPIO_InitStruct);

  /*Configure GPIO pin : CPU_LOAD_Pin */
  GPIO_InitStruct.Pin = CPU_LOAD_Pin;
  GPIO_InitStruct.Mode = GPIO_MODE_OUTPUT_PP;
  GPIO_InitStruct.Pull = GPIO_NOPULL;
  GPIO_InitStruct.Speed = GPIO_SPEED_FREQ_VERY_HIGH;
  HAL_GPIO_Init(CPU_LOAD_GPIO_Port, &GPIO_InitStruct);

  /* EXTI interrupt init*/
  HAL_NVIC_SetPriority(EXTI1_IRQn, 6, 0);
  HAL_NVIC_EnableIRQ(EXTI1_IRQn);

  HAL_NVIC_SetPriority(EXTI4_IRQn, 6, 0);
  HAL_NVIC_EnableIRQ(EXTI4_IRQn);

}

/* USER CODE BEGIN 4 */
void HAL_GPIO_EXTI_Callback(uint16_t pin) {
    if (pin == ControlBtn_Pin) {
        Controller_Change_Control();
    } else if (pin == EncBtn_Pin) {
        Controller_Change_State();
    }
}

void HAL_ADC_ConvCpltCallback(ADC_HandleTypeDef *AdcHandle) {
    Controller_ADC_Done();
}

extern char serial_out[50];
void HAL_UART_TxCpltCallback(UART_HandleTypeDef *huart) {
  if (huart->Instance == USART2) {
    HAL_UART_Transmit_DMA(huart, serial_out, strlen(serial_out));
  }
}

/* USER CODE END 4 */

__weak void StartDefaultTask(void *argument)
{
    for (;;) {
        osDelay(1);
    }
}

__weak void Service_LCD_Task(void *argument)
{
    for (;;) {
        osDelay(1);
    }
}

__weak void Service_Control_Task(void *argument)
{
    for (;;) {
        osDelay(1);
    }
}

__weak void Service_OLED_Task(void *argument)
{
  for(;;)
  {
    osDelay(1);
  }
}

void HAL_TIM_PeriodElapsedCallback(TIM_HandleTypeDef *htim)
{
  if (htim->Instance == TIM11) {
    HAL_IncTick();
  }
  /* USER CODE BEGIN Callback 1 */
    if(htim->Instance == TIM5) {
        Controller_Reset_Enc_Cooldown();
    } else if(htim->Instance == TIM9) {
        Controller_Reset_Btn_Cooldown();
    } else if(htim->Instance == TIM10) {
        HAL_TIM_PWM_Stop(&htim4, TIM_CHANNEL_1);
    }
  /* USER CODE END Callback 1 */
}

void Error_Handler(void)
{
    __disable_irq();
    while (1) {
    }
}
